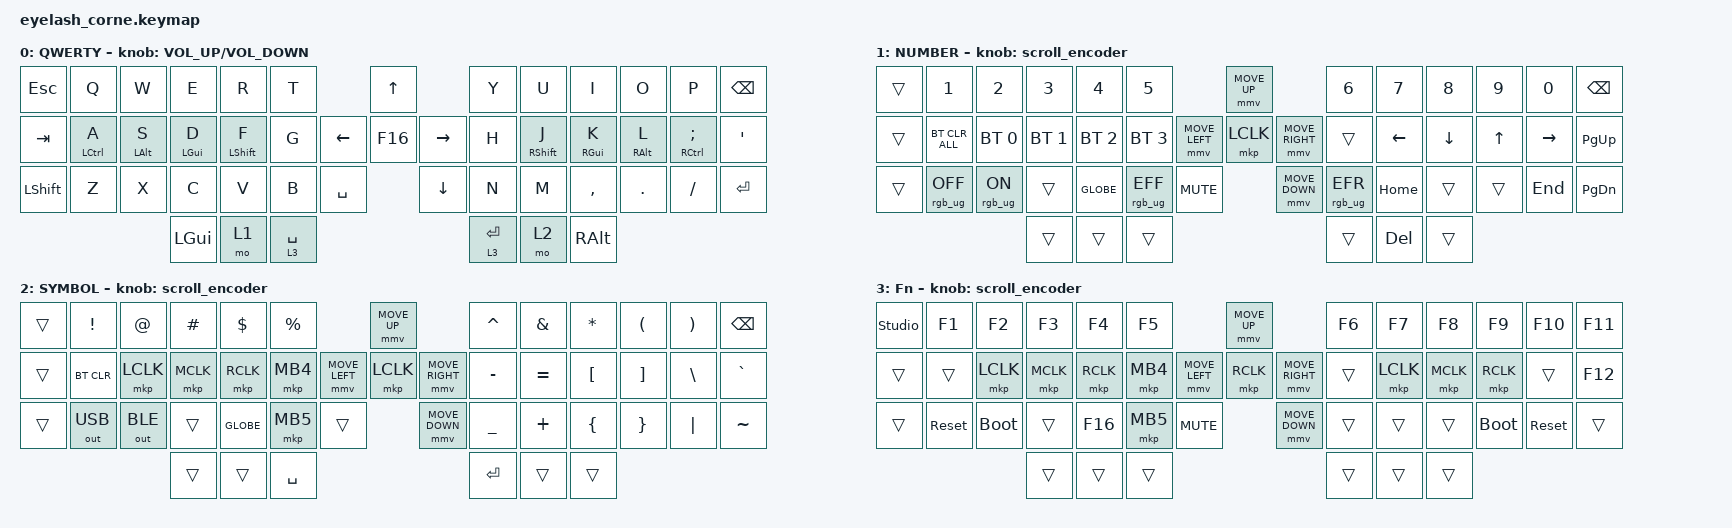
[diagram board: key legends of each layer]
#define ZMK_POINTING_DEFAULT_MOVE_VAL 1200  // 600
#define ZMK_POINTING_DEFAULT_SCRL_VAL 25   // 10

#include <input/processors.dtsi>
#include <zephyr/dt-bindings/input/input-event-codes.h>
#include <behaviors.dtsi>
#include <dt-bindings/zmk/bt.h>
#include <dt-bindings/zmk/keys.h>
#include <dt-bindings/zmk/outputs.h>
#include <dt-bindings/zmk/pointing.h>
#include <dt-bindings/zmk/rgb.h>

&mmv_input_listener { input-processors = <&zip_xy_scaler 2 1>; };

&msc_input_listener { input-processors = <&zip_scroll_scaler 2 1>; };

&msc {
    acceleration-exponent = <1>;      // 0
    time-to-max-speed-ms = <100>;       // 300
    delay-ms = <0>;                   // 0
};

&mmv {
    time-to-max-speed-ms = <500>;
    acceleration-exponent = <1>;
    trigger-period-ms = <16>;
};

/ {
    behaviors {
        td0: td0 {
            compatible = "zmk,behavior-tap-dance";
            display-name = "Shift/Caps Lock Tap Dance";
            #binding-cells = <0>;
            bindings = <&kp LEFT_SHIFT>, <&kp CAPS>;
        };

        HMR: HMR {
            compatible = "zmk,behavior-hold-tap";
            label = "HMR";
            bindings = <&kp>, <&kp>;

            #binding-cells = <2>;
            tapping-term-ms = <280>;
            quick-tap-ms = <175>;
            flavor = "tap-preferred";
            hold-trigger-key-positions = <0 13 28 29 14 1 2 15 30 31 17 3 16 42 43 44 34 33 32 18 5 4 45 47 46 19 35 20 6 21>;
            hold-trigger-on-release;
        };

        HML: HML {
            compatible = "zmk,behavior-hold-tap";
            label = "HML";
            bindings = <&kp>, <&kp>;

            #binding-cells = <2>;
            hold-trigger-key-positions = <7 8 9 10 11 12 22 23 24 25 26 27 36 37 38 39 40 41 45 46 47 6 19 20 21 35 43 44 42>;
            hold-trigger-on-release;
            tapping-term-ms = <280>;
            quick-tap-ms = <175>;
            flavor = "tap-preferred";
        };
    };

    rgb_encoder: rgb_encoder {
        compatible = "zmk,behavior-sensor-rotate";
        #sensor-binding-cells = <0>;
        bindings = <&rgb_ug RGB_BRI>, <&rgb_ug RGB_BRD>;
    };

    scroll_encoder: scroll_encoder {
        compatible = "zmk,behavior-sensor-rotate";
        #sensor-binding-cells = <0>;
        bindings = <&msc SCRL_DOWN>, <&msc SCRL_UP>;

        tap-ms = <100>;
    };

    keymap {
        compatible = "zmk,keymap";

        default_layer {
            display-name = "QWERTY";
            bindings = <
&kp ESC         &kp Q         &kp W            &kp E            &kp R              &kp T                               &kp UP               &kp Y        &kp U               &kp I             &kp O             &kp P            &kp BSPC
&kp TAB         &HML LCTRL A  &HML LEFT_ALT S  &HML LEFT_GUI D  &HML LEFT_SHIFT F  &kp G                     &kp LEFT  &kp F16   &kp RIGHT  &kp H        &HMR RIGHT_SHIFT J  &HMR RIGHT_GUI K  &HMR RIGHT_ALT L  &HMR RCTRL SEMI  &kp SQT
&kp LEFT_SHIFT  &kp Z         &kp X            &kp C            &kp V              &kp B        &kp SPACE              &kp DOWN             &kp N        &kp M               &kp COMMA         &kp DOT           &kp FSLH         &kp ENTER
                                               &kp LGUI         &mo 1              &lt 3 SPACE                                              &lt 3 ENTER  &mo 2               &kp RALT
            >;

            sensor-bindings = <&inc_dec_kp C_VOLUME_UP C_VOLUME_DOWN>;
        };

        lower_layer {
            display-name = "NUMBER";
            bindings = <
&trans  &kp N1           &kp N2          &kp N3        &kp N4        &kp N5                                         &mmv MOVE_UP                     &kp N6           &kp N7    &kp N8    &kp N9  &kp N0     &kp BSPC
&trans  &bt BT_CLR_ALL   &bt BT_SEL 0    &bt BT_SEL 1  &bt BT_SEL 2  &bt BT_SEL 3                   &mmv MOVE_LEFT  &mkp LCLK       &mmv MOVE_RIGHT  &trans           &kp LEFT  &kp DOWN  &kp UP  &kp RIGHT  &kp PG_UP
&trans  &rgb_ug RGB_OFF  &rgb_ug RGB_ON  &trans        &kp GLOBE     &rgb_ug RGB_EFF  &kp C_MUTE                    &mmv MOVE_DOWN                   &rgb_ug RGB_EFR  &kp HOME  &trans    &trans  &kp END    &kp PG_DN
                                         &trans        &trans        &trans                                                                          &trans           &kp DEL   &trans
            >;

            sensor-bindings = <&scroll_encoder>;
        };

        raise_layer {
            display-name = "SYMBOL";
            bindings = <
&trans  &kp EXCL      &kp AT        &kp HASH   &kp DLLR   &kp PRCNT                            &mmv MOVE_UP                     &kp CARET  &kp AMPS   &kp ASTRK  &kp LPAR  &kp RPAR  &kp BSPC
&trans  &bt BT_CLR    &mkp LCLK     &mkp MCLK  &mkp RCLK  &mkp MB4             &mmv MOVE_LEFT  &mkp LCLK       &mmv MOVE_RIGHT  &kp MINUS  &kp EQUAL  &kp LBKT   &kp RBKT  &kp BSLH  &kp GRAVE
&trans  &out OUT_USB  &out OUT_BLE  &trans     &kp GLOBE  &mkp MB5   &trans                    &mmv MOVE_DOWN                   &kp UNDER  &kp PLUS   &kp LBRC   &kp RBRC  &kp PIPE  &kp TILDE
                                    &trans     &trans     &kp SPACE                                                             &kp RET    &trans     &trans
            >;

            sensor-bindings = <&scroll_encoder>;
        };

        layer_3 {
            display-name = "Fn";
            bindings = <
&studio_unlock  &kp F1      &kp F2       &kp F3     &kp F4     &kp F5                                  &mmv MOVE_UP                     &kp F6  &kp F7     &kp F8     &kp F9       &kp F10     &kp F11
&trans          &trans      &mkp LCLK    &mkp MCLK  &mkp RCLK  &mkp MB4                &mmv MOVE_LEFT  &mkp RCLK       &mmv MOVE_RIGHT  &trans  &mkp LCLK  &mkp MCLK  &mkp RCLK    &trans      &kp F12
&trans          &sys_reset  &bootloader  &trans     &kp F16    &mkp MB5  &kp C_MUTE                    &mmv MOVE_DOWN                   &trans  &trans     &trans     &bootloader  &sys_reset  &trans
                                         &trans     &trans     &trans                                                                   &trans  &trans     &trans
            >;

            sensor-bindings = <&scroll_encoder>;
        };
    };
};
